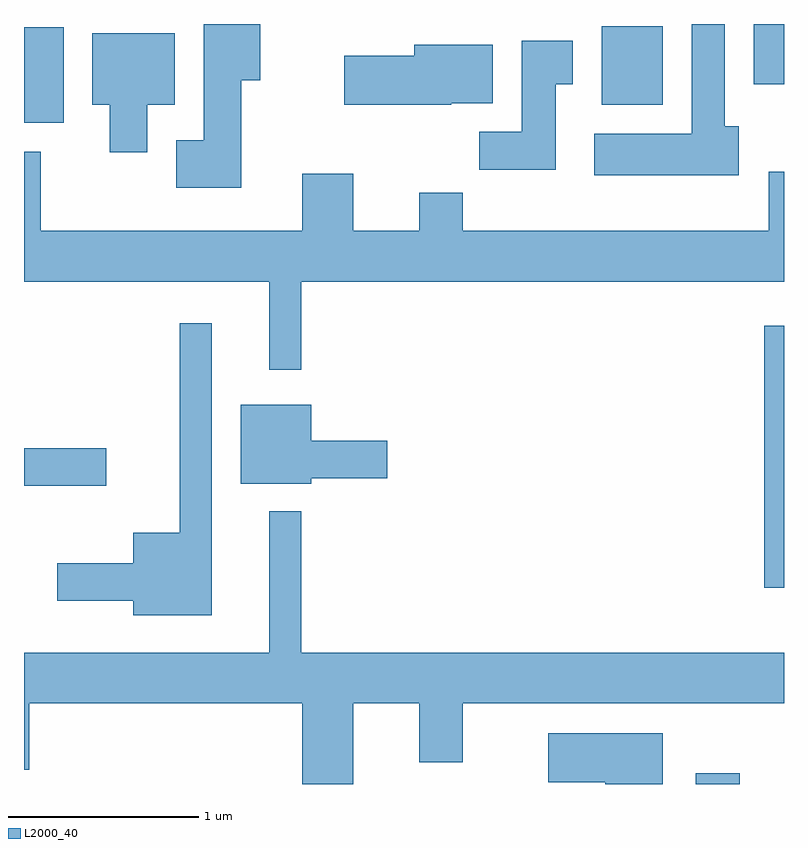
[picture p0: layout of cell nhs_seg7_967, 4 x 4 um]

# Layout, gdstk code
import gdstk
lib = gdstk.Library(unit=1e-6, precision=1e-09)
def R(c, l, rs):  # rectangles x0, y0, x1, y1
    for r in rs: c.add(gdstk.rectangle(r[:2], r[2:], *l))
def P(c, l, *ps):  # polygons
    for p in ps: c.add(gdstk.Polygon(p, *l))
L2000_40 = (2000, 40)

nhs_seg7_967 = lib.new_cell('nhs_seg7_967')
R(nhs_seg7_967, L2000_40, [(217.146,1798.252,217.379,1798.309), (217.506,1799.286,217.611,1800.664), (213.611,1799.821,214.044,1800.019), (213.611,1801.731,213.819,1802.234), (216.651,1801.826,216.974,1802.239), (217.451,1801.936,217.611,1802.252)])
P(nhs_seg7_967, L2000_40, [(217.374,1801.714),(217.299,1801.714),(217.299,1802.252),(217.126,1802.252),(217.126,1801.674),(216.611,1801.674),(216.611,1801.456),(217.374,1801.456)],
  [(214.754,1801.956),(214.854,1801.956),(214.854,1802.252),(214.556,1802.252),(214.556,1801.639),(214.411,1801.639),(214.411,1801.391),(214.754,1801.391)],
  [(214.259,1801.826),(214.404,1801.826),(214.404,1802.204),(213.971,1802.204),(213.971,1801.826),(214.061,1801.826),(214.061,1801.576),(214.259,1801.576)],
  [(216.409,1801.936),(216.499,1801.936),(216.499,1802.164),(216.231,1802.164),(216.231,1801.684),(216.006,1801.684),(216.006,1801.486),(216.409,1801.486)],
  [(215.86,1801.836),(216.079,1801.836),(216.079,1802.144),(215.666,1802.144),(215.666,1802.084),(215.296,1802.084),(215.296,1801.826),(215.86,1801.826)],
  [(215.069,1800.896),(217.611,1800.896),(217.611,1801.474),(217.531,1801.474),(217.531,1801.164),(215.919,1801.164),(215.919,1801.364),(215.691,1801.364),(215.691,1801.164),(215.344,1801.164),(215.344,1801.464),(215.076,1801.464),(215.076,1801.164),(213.699,1801.164),(213.699,1801.579),(213.611,1801.579),(213.611,1800.896),(214.901,1800.896),(214.901,1800.433),(215.069,1800.433)],
  [(214.599,1800.678),(214.431,1800.678),(214.431,1799.574),(214.186,1799.574),(214.186,1799.414),(213.786,1799.414),(213.786,1799.216),(214.186,1799.216),(214.186,1799.141),(214.599,1799.141)],
  [(215.124,1799.861),(215.524,1799.861),(215.524,1800.059),(215.124,1800.059),(215.124,1800.249),(214.751,1800.249),(214.751,1799.831),(215.124,1799.831)],
  [(215.344,1798.676),(215.691,1798.676),(215.691,1798.366),(215.919,1798.366),(215.919,1798.676),(217.611,1798.676),(217.611,1798.944),(215.069,1798.944),(215.069,1799.688),(214.901,1799.688),(214.901,1798.944),(213.611,1798.944),(213.611,1798.326),(213.639,1798.326),(213.639,1798.676),(215.076,1798.676),(215.076,1798.252),(215.344,1798.252)],
  [(216.974,1798.519),(216.371,1798.519),(216.371,1798.261),(216.671,1798.261),(216.671,1798.252),(216.974,1798.252)])

lib.write_gds('nhs_seg7_967.gds')
